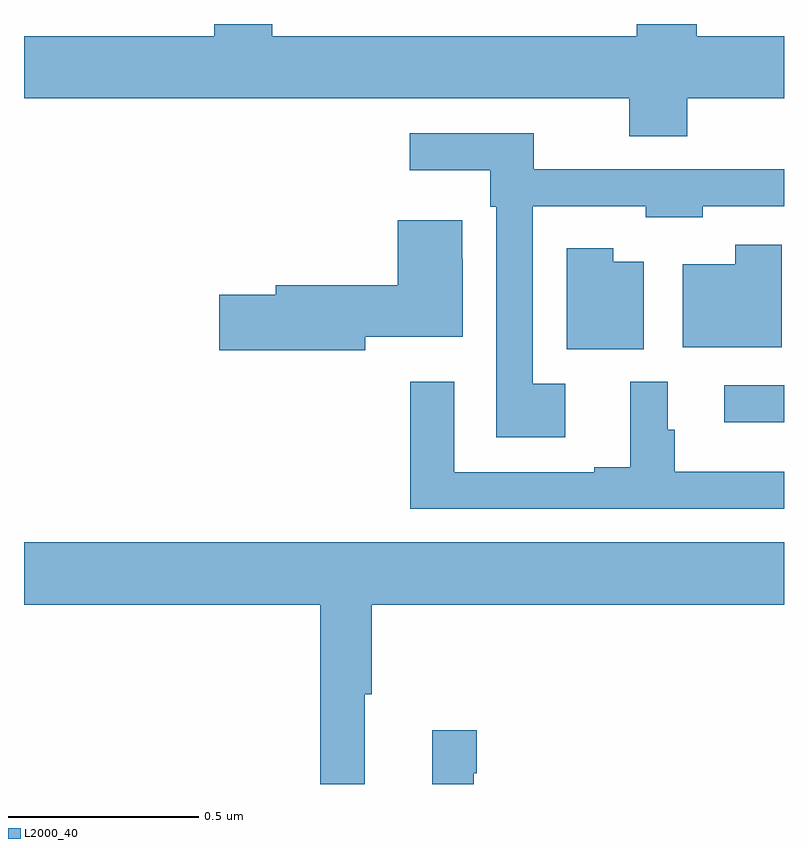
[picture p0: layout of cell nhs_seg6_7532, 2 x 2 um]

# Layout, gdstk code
import gdstk
lib = gdstk.Library(unit=1e-6, precision=1e-09)
def R(c, l, rs):  # rectangles x0, y0, x1, y1
    for r in rs: c.add(gdstk.rectangle(r[:2], r[2:], *l))
def P(c, l, *ps):  # polygons
    for p in ps: c.add(gdstk.Polygon(p, *l))
L2000_40 = (2000, 40)

nhs_seg6_7532 = lib.new_cell('nhs_seg6_7532')
R(nhs_seg6_7532, L2000_40, [(210.843,978.452,211,978.549)])
P(nhs_seg6_7532, L2000_40, [(210.746,979.304),(211,979.304),(211,979.468),(210.77,979.468),(210.77,979.5),(210.613,979.5),(210.613,979.468),(209.653,979.468),(209.653,979.5),(209.501,979.5),(209.501,979.468),(209,979.468),(209,979.304),(210.593,979.304),(210.593,979.205),(210.746,979.205)],
  [(210.424,978.553),(210.339,978.553),(210.339,979.02),(210.636,979.02),(210.636,978.992),(210.786,978.992),(210.786,979.02),(211,979.02),(211,979.118),(210.342,979.118),(210.342,979.212),(210.015,979.212),(210.015,979.115),(210.227,979.115),(210.227,979.019),(210.243,979.019),(210.243,978.413),(210.424,978.413)],
  [(209.898,978.677),(210.154,978.677),(210.154,978.881),(210.153,978.881),(210.153,978.984),(209.984,978.984),(209.984,978.813),(209.663,978.813),(209.663,978.788),(209.514,978.788),(209.514,978.641),(209.898,978.641)],
  [(210.994,978.919),(210.872,978.919),(210.872,978.868),(210.734,978.868),(210.734,978.65),(210.994,978.65)],
  [(210.631,978.874),(210.55,978.874),(210.55,978.91),(210.428,978.91),(210.428,978.644),(210.631,978.644)],
  [(211,978.322),(210.713,978.322),(210.713,978.432),(210.694,978.432),(210.694,978.559),(210.596,978.559),(210.596,978.334),(210.5,978.334),(210.5,978.321),(210.132,978.321),(210.132,978.559),(210.016,978.559),(210.016,978.225),(211,978.225)],
  [(209.897,977.736),(209.915,977.736),(209.915,977.972),(211,977.972),(211,978.136),(209,978.136),(209,977.972),(209.779,977.972),(209.779,977.5),(209.897,977.5)],
  [(210.184,977.528),(210.191,977.528),(210.191,977.641),(210.074,977.641),(210.074,977.5),(210.184,977.5)])

lib.write_gds('nhs_seg6_7532.gds')
